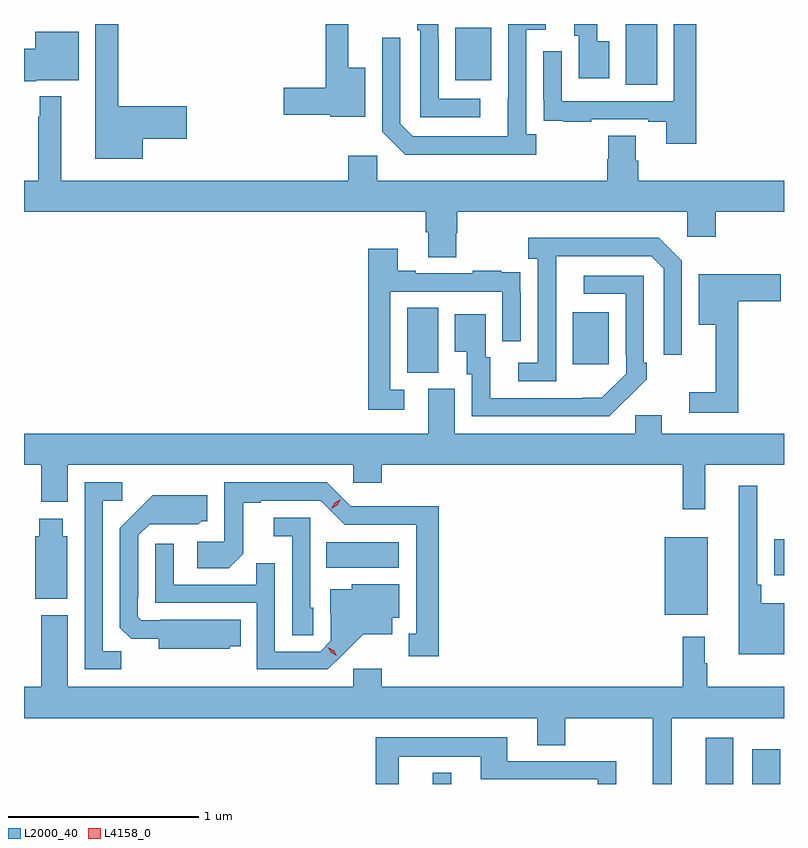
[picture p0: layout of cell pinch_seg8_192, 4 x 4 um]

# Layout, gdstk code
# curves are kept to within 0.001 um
import gdstk
lib = gdstk.Library(unit=1e-6, precision=1e-09)
def R(c, l, rs):  # rectangles x0, y0, x1, y1
    for r in rs: c.add(gdstk.rectangle(r[:2], r[2:], *l))
def P(c, l, *ps):  # polygons
    for p in ps: c.add(gdstk.Polygon(p, *l))
L2000_40 = (2000, 40)
L4158_0 = (4158, 0)

pinch_seg8_192 = lib.new_cell('pinch_seg8_192')
R(pinch_seg8_192, L2000_40, [(641.645,1158.777,641.743,1158.835), (643.082,1158.777,643.228,1159.021), (643.328,1158.777,643.474,1158.961), (642.866,1159.667,643.093,1160.077), (643.442,1159.877,643.494,1160.065), (641.086,1159.916,641.467,1160.05), (641.51,1160.941,641.674,1161.284), (642.383,1160.985,642.571,1161.259), (642.662,1162.456,642.826,1162.777), (641.765,1162.481,641.953,1162.756)])
P(pinch_seg8_192, L2000_40, [(641.29,1162.546),(641.201,1162.546),(641.201,1162.777),(641.083,1162.777),(641.083,1162.442),(640.86,1162.442),(640.86,1162.3),(641.106,1162.3),(641.106,1162.289),(641.29,1162.289)],
  [(640.12,1162.172),(640.351,1162.172),(640.351,1162.343),(639.991,1162.343),(639.991,1162.777),(639.869,1162.777),(639.869,1162.067),(640.12,1162.067)],
  [(642.19,1162.198),(642.138,1162.198),(642.138,1162.746),(642.241,1162.746),(642.241,1162.777),(642.042,1162.777),(642.041,1162.185),(641.541,1162.185),(641.475,1162.251),(641.475,1162.705),(641.379,1162.705),(641.379,1162.209),(641.5,1162.088),(642.19,1162.088)],
  [(642.574,1162.687),(642.511,1162.687),(642.511,1162.777),(642.389,1162.777),(642.389,1162.716),(642.413,1162.716),(642.413,1162.491),(642.574,1162.491)],
  [(641.896,1162.383),(641.676,1162.383),(641.676,1162.703),(641.673,1162.703),(641.673,1162.777),(641.565,1162.777),(641.565,1162.745),(641.58,1162.745),(641.58,1162.287),(641.896,1162.287)],
  [(643.031,1162.777),(642.915,1162.777),(642.915,1162.371),(642.324,1162.371),(642.324,1162.633),(642.228,1162.633),(642.228,1162.378),(642.229,1162.378),(642.229,1162.269),(642.331,1162.269),(642.331,1162.263),(642.479,1162.263),(642.479,1162.275),(642.779,1162.275),(642.779,1162.263),(642.875,1162.263),(642.875,1162.146),(643.031,1162.146)],
  [(639.558,1162.481),(639.781,1162.481),(639.781,1162.735),(639.554,1162.735),(639.554,1162.647),(639.494,1162.647),(639.494,1162.475),(639.558,1162.475)],
  [(641.769,1161.675),(641.774,1161.675),(641.774,1161.788),(642.984,1161.788),(642.984,1161.657),(643.136,1161.657),(643.136,1161.788),(643.494,1161.788),(643.494,1161.952),(642.728,1161.952),(642.728,1162.058),(642.715,1162.058),(642.715,1162.19),(642.568,1162.19),(642.568,1162.065),(642.563,1162.065),(642.563,1161.952),(641.352,1161.952),(641.352,1162.084),(641.201,1162.084),(641.201,1161.952),(639.691,1161.952),(639.691,1162.396),(639.577,1162.396),(639.577,1162.289),(639.57,1162.289),(639.57,1161.952),(639.494,1161.952),(639.494,1161.788),(641.609,1161.788),(641.609,1161.682),(641.621,1161.682),(641.621,1161.55),(641.769,1161.55)],
  [(642.294,1161.355),(642.295,1161.555),(642.795,1161.555),(642.861,1161.489),(642.861,1161.036),(642.957,1161.036),(642.957,1161.531),(642.836,1161.652),(642.147,1161.652),(642.147,1161.542),(642.198,1161.542),(642.198,1160.994),(642.096,1160.994),(642.096,1160.898),(642.294,1160.898)],
  [(641.494,1160.853),(641.421,1160.853),(641.421,1161.369),(642.012,1161.369),(642.012,1161.108),(642.108,1161.108),(642.108,1161.362),(642.107,1161.362),(642.107,1161.471),(642.005,1161.471),(642.005,1161.478),(641.857,1161.478),(641.857,1161.465),(641.557,1161.465),(641.557,1161.478),(641.461,1161.478),(641.461,1161.595),(641.305,1161.595),(641.305,1160.748),(641.494,1160.748)],
  [(643.253,1161.317),(643.477,1161.317),(643.477,1161.459),(643.046,1161.459),(643.046,1161.194),(643.136,1161.194),(643.136,1160.839),(642.996,1160.839),(642.996,1160.73),(643.253,1160.73)],
  [(642.665,1160.803),(642.666,1160.802),(642.771,1160.907),(642.771,1160.995),(642.756,1160.995),(642.756,1161.453),(642.441,1161.453),(642.441,1161.357),(642.66,1161.357),(642.66,1161.037),(642.663,1161.037),(642.663,1160.937),(642.535,1160.809),(641.947,1160.808),(641.947,1161.024),(641.923,1161.024),(641.923,1161.25),(641.762,1161.25),(641.762,1161.053),(641.825,1161.053),(641.825,1160.934),(641.85,1160.934),(641.85,1160.712),(642.574,1160.712)],
  [(643.079,1160.456),(643.494,1160.456),(643.494,1160.62),(642.85,1160.62),(642.85,1160.718),(642.711,1160.718),(642.711,1160.62),(641.761,1160.62),(641.761,1160.856),(641.621,1160.856),(641.621,1160.62),(639.494,1160.62),(639.494,1160.456),(639.584,1160.456),(639.584,1160.262),(639.724,1160.262),(639.724,1160.456),(641.226,1160.456),(641.226,1160.363),(641.378,1160.363),(641.378,1160.456),(642.961,1160.456),(642.961,1160.223),(643.079,1160.223)],
  [(641.677,1160.24),(641.436,1160.24),(641.436,1160.238),(641.214,1160.238),(641.088,1160.364),(640.548,1160.364),(640.548,1160.052),(640.407,1160.052),(640.407,1159.912),(640.571,1159.912),(640.647,1159.988),(640.647,1160.256),(640.741,1160.256),(640.741,1160.268),(641.055,1160.268),(641.181,1160.142),(641.558,1160.142),(641.558,1159.569),(641.519,1159.569),(641.519,1159.449),(641.677,1159.449)],
  [(640.005,1159.475),(639.909,1159.475),(639.909,1160.268),(640.012,1160.268),(640.012,1160.364),(639.813,1160.364),(639.813,1159.38),(640.005,1159.38)],
  [(643.494,1159.729),(643.373,1159.729),(643.373,1159.825),(643.353,1159.825),(643.353,1160.347),(643.256,1160.347),(643.256,1159.46),(643.494,1159.46)],
  [(640.578,1159.502),(640.634,1159.502),(640.634,1159.642),(640.21,1159.642),(640.21,1159.638),(640.11,1159.638),(640.092,1159.656),(640.092,1159.756),(640.095,1159.756),(640.095,1160.085),(640.155,1160.145),(640.412,1160.144),(640.428,1160.16),(640.459,1160.16),(640.459,1160.296),(640.171,1160.296),(639.999,1160.122),(639.999,1159.6),(640.058,1159.541),(640.202,1159.541),(640.202,1159.49),(640.578,1159.49)],
  [(641.016,1159.704),(641.001,1159.704),(641.001,1160.178),(640.809,1160.178),(640.809,1160.081),(640.905,1160.081),(640.905,1159.561),(641.016,1159.561)],
  [(639.721,1160.082),(639.697,1160.082),(639.697,1160.173),(639.575,1160.173),(639.575,1160.082),(639.554,1160.082),(639.554,1159.751),(639.721,1159.751)],
  [(641.176,1159.463),(641.279,1159.565),(641.431,1159.565),(641.431,1159.652),(641.47,1159.652),(641.47,1159.828),(641.22,1159.828),(641.22,1159.801),(641.105,1159.801),(641.105,1159.672),(641.109,1159.672),(641.109,1159.53),(641.052,1159.473),(640.815,1159.473),(640.815,1159.94),(640.717,1159.94),(640.717,1159.827),(640.281,1159.827),(640.281,1160.041),(640.185,1160.041),(640.185,1159.731),(640.719,1159.731),(640.719,1159.38),(641.092,1159.38)],
  [(642.902,1159.124),(643.494,1159.124),(643.494,1159.288),(643.09,1159.288),(643.09,1159.412),(643.078,1159.412),(643.078,1159.552),(642.961,1159.552),(642.961,1159.288),(641.378,1159.288),(641.378,1159.384),(641.226,1159.384),(641.226,1159.288),(639.724,1159.288),(639.724,1159.666),(639.584,1159.666),(639.584,1159.288),(639.494,1159.288),(639.494,1159.124),(642.194,1159.124),(642.194,1158.982),(642.342,1158.982),(642.342,1159.124),(642.803,1159.124),(642.803,1158.777),(642.902,1158.777)],
  [(641.467,1158.92),(641.897,1158.92),(641.897,1158.801),(642.513,1158.801),(642.513,1158.777),(642.611,1158.777),(642.611,1158.897),(642.037,1158.897),(642.037,1159.024),(641.346,1159.024),(641.346,1158.777),(641.467,1158.777)])
P(pinch_seg8_192, L4158_0, [(641.111,1160.225),(641.111,1160.225),(641.129,1160.258),(641.161,1160.276),(641.161,1160.276),(641.161,1160.276),(641.143,1160.244),(641.111,1160.225)],
  [(641.141,1159.452),(641.11,1159.467),(641.092,1159.497),(641.092,1159.497),(641.092,1159.497),(641.123,1159.482),(641.141,1159.453),(641.141,1159.452)])

lib.write_gds('pinch_seg8_192.gds')
